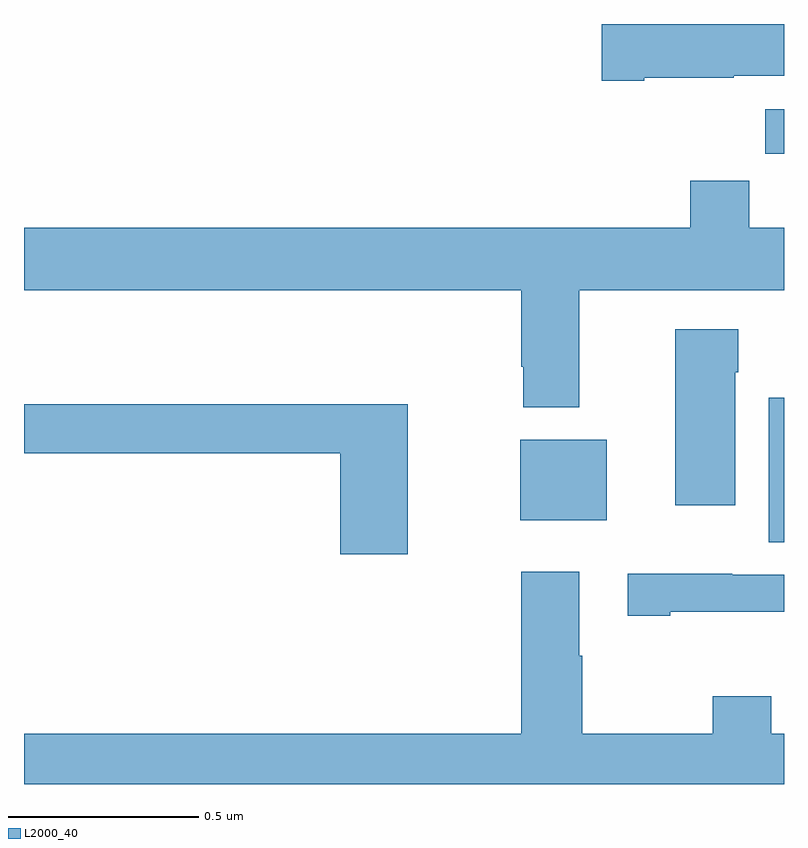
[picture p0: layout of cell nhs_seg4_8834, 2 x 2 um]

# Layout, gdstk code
import gdstk
lib = gdstk.Library(unit=1e-6, precision=1e-09)
def R(c, l, rs):  # rectangles x0, y0, x1, y1
    for r in rs: c.add(gdstk.rectangle(r[:2], r[2:], *l))
def P(c, l, *ps):  # polygons
    for p in ps: c.add(gdstk.Polygon(p, *l))
L2000_40 = (2000, 40)

nhs_seg4_8834 = lib.new_cell('nhs_seg4_8834')
R(nhs_seg4_8834, L2000_40, [(221.96,749.536,222,749.917), (221.306,749.594,221.533,749.806), (221.95,750.558,222,750.676)])
P(nhs_seg4_8834, L2000_40, [(221.632,750.758),(221.868,750.758),(221.868,750.764),(222,750.764),(222,750.9),(221.52,750.9),(221.52,750.751),(221.632,750.751)],
  [(221.461,750.2),(222,750.2),(222,750.364),(221.909,750.364),(221.909,750.488),(221.753,750.488),(221.753,750.364),(220,750.364),(220,750.2),(221.309,750.2),(221.309,749.998),(221.314,749.998),(221.314,749.891),(221.461,749.891)],
  [(221.872,749.984),(221.88,749.984),(221.88,750.097),(221.714,750.097),(221.714,749.634),(221.872,749.634)],
  [(221.01,749.899),(220,749.899),(220,749.77),(220.832,749.77),(220.832,749.505),(221.01,749.505)],
  [(222,749.032),(221.967,749.032),(221.967,749.131),(221.812,749.131),(221.812,749.032),(221.469,749.032),(221.469,749.237),(221.461,749.237),(221.461,749.458),(221.309,749.458),(221.309,749.032),(220,749.032),(220,748.9),(222,748.9)],
  [(221.701,749.353),(222,749.353),(222,749.451),(221.864,749.451),(221.864,749.453),(221.589,749.453),(221.589,749.343),(221.701,749.343)])

lib.write_gds('nhs_seg4_8834.gds')
